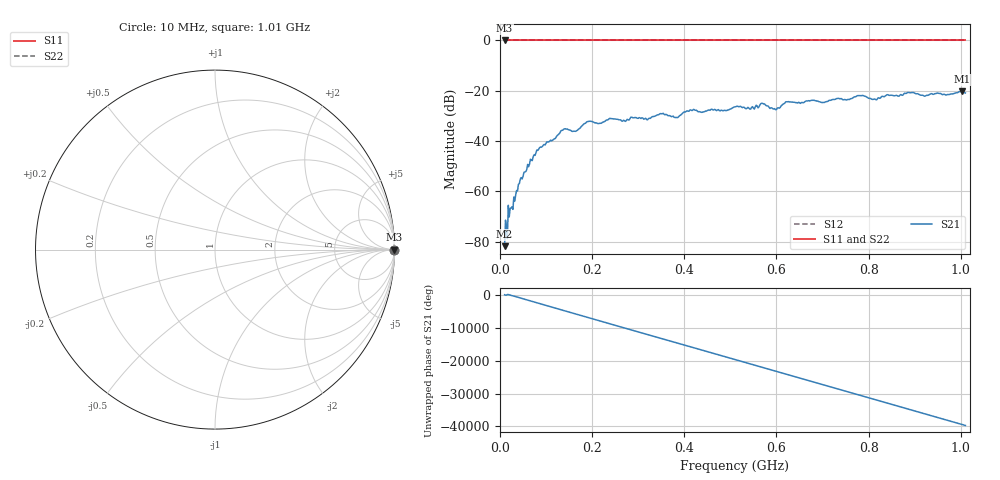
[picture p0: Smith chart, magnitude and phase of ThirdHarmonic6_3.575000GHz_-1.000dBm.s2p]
! 8/17/2025 11:51:33 AM
! C:\ANRITSUVNA\TEMP\TEMP.S2P
! CHANNEL.1
! TR.MEASUREMENT
! RAW.DATA
! RF.CORRECTION.OFF
! AVERAGING.OFF
! IF.BANDWIDTH: 5KHZ
! SWEEPTYPE:  FREQ.SWEEP(Linear)
! Reference Plane Port Info
! PORT:  PORT1  PORT2
! DISTANCE:  0  m  0  m
! TIME:  0  s  0  s
! PHASE.OFFSET:  0  deg.  0  deg.
! LOSS:  0  dB  0  dB
! REF.LOSS:  0  dB  0  dB
! REF.FREQ:  0  Hz  0  Hz
! Power Info
! POWER:  -20  dBm  -20  dBm
! EFF.POWER:  -20  dBm  -20  dBm
! SOURCE.ATTEN:  0  dB  0  dB
! TEST.ATTEN:  0  dB  0  dB
# GHZ S RI R 50.0
! FREQ.GHZ  S11RE  S11IM  S21RE  S21IM  S12RE  S12IM  S22RE  S22IM
!; PortSelection: Port_12
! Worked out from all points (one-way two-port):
!   501 points, 10 MHz to 1.01 GHz, reference 50 ohm
!   highest |S21| = -20.15 dB at 1.002 GHz (marker M1); lowest = -81.7 dB at 10 MHz (marker M2)
!   lowest |S11| = 0.0 dB at 10 MHz (marker M3)
!   |S11| at or under -10 dB: nowhere
!   |S22| runs from 0.0 to 0.0 dB; largest |S21 - S12| = 1.1
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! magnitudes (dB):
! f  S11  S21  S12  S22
! 10 MHz  0.0  -81.7  0.0  0.0
! 12 MHz  0.0  -71.4  0.0  0.0
! 22 MHz  0.0  -66.7  0.0  0.0
! 24 MHz  0.0  -66.6  0.0  0.0
! 44 MHz  0.0  -55.1  0.0  0.0
! 82 MHz  0.0  -43.7  0.0  0.0
! 136 MHz  0.0  -35.7  0.0  0.0
! 162 MHz  0.0  -36.0  0.0  0.0
! 178 MHz  0.0  -33.9  0.0  0.0
! 192 MHz  0.0  -32.2  0.0  0.0
! 322 MHz  0.0  -31.1  0.0  0.0
! 344 MHz  0.0  -29.6  0.0  0.0
! 382 MHz  0.0  -30.6  0.0  0.0
! 416 MHz  0.0  -27.8  0.0  0.0
! 510 MHz  0.0  -26.4  0.0  0.0
! 570 MHz  0.0  -25.0  0.0  0.0
! 596 MHz  0.0  -27.1  0.0  0.0
! 624 MHz  0.0  -24.4  0.0  0.0
! 678 MHz  0.0  -23.8  0.0  0.0
! 844 MHz  0.0  -21.8  0.0  0.0
! 1.002 GHz  0.0  -20.1  0.0  0.0
! 1.01 GHz  0.0  -20.9  0.0  0.0
